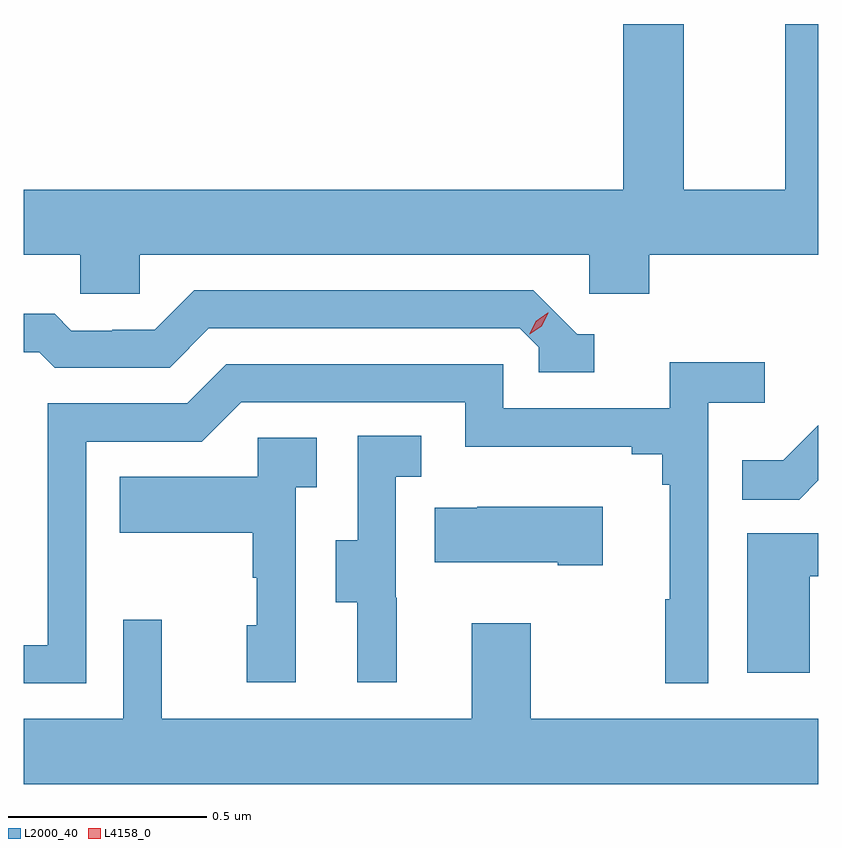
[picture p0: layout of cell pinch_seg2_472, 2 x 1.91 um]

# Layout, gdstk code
import gdstk
lib = gdstk.Library(unit=1e-6, precision=1e-09)
def P(c, l, *ps):  # polygons
    for p in ps: c.add(gdstk.Polygon(p, *l))
L2000_40 = (2000, 40)
L4158_0 = (4158, 0)

pinch_seg2_472 = lib.new_cell('pinch_seg2_472')
P(pinch_seg2_472, L2000_40, [(905.739,597.02),(906.87,597.02),(906.87,596.922),(907.022,596.922),(907.022,597.02),(907.447,597.02),(907.447,597.601),(907.364,597.601),(907.364,597.184),(907.108,597.184),(907.108,597.601),(906.956,597.601),(906.956,597.184),(905.447,597.184),(905.447,597.02),(905.589,597.02),(905.589,596.922),(905.739,596.922)],
  [(906.883,596.82),(906.84,596.82),(906.729,596.931),(905.876,596.931),(905.777,596.832),(905.67,596.832),(905.67,596.829),(905.567,596.829),(905.525,596.872),(905.447,596.872),(905.447,596.775),(905.486,596.775),(905.525,596.736),(905.814,596.736),(905.913,596.835),(906.696,596.835),(906.744,596.787),(906.744,596.724),(906.883,596.724)],
  [(905.604,596.55),(905.895,596.55),(905.994,596.649),(906.558,596.649),(906.558,596.537),(906.977,596.537),(906.977,596.518),(907.054,596.518),(907.054,596.441),(907.073,596.441),(907.073,596.153),(907.062,596.153),(907.062,595.941),(907.17,595.941),(907.17,596.648),(907.312,596.648),(907.312,596.75),(907.073,596.75),(907.073,596.634),(906.654,596.634),(906.654,596.745),(905.957,596.745),(905.858,596.646),(905.508,596.646),(905.508,596.037),(905.447,596.037),(905.447,595.941),(905.604,595.941)],
  [(907.447,596.452),(907.447,596.591),(907.359,596.503),(907.255,596.503),(907.255,596.404),(907.399,596.404)],
  [(906.386,596.157),(906.384,596.157),(906.384,596.461),(906.448,596.461),(906.448,596.564),(906.288,596.564),(906.288,596.301),(906.233,596.301),(906.233,596.146),(906.287,596.146),(906.287,595.944),(906.386,595.944)],
  [(906.132,596.435),(906.184,596.435),(906.184,596.559),(906.036,596.559),(906.036,596.461),(905.689,596.461),(905.689,596.321),(906.024,596.321),(906.024,596.207),(906.034,596.207),(906.034,596.088),(906.008,596.088),(906.008,595.944),(906.132,595.944)],
  [(906.904,596.386),(906.589,596.386),(906.589,596.383),(906.481,596.383),(906.481,596.246),(906.791,596.246),(906.791,596.239),(906.904,596.239)],
  [(907.426,596.211),(907.447,596.211),(907.447,596.319),(907.268,596.319),(907.268,595.968),(907.426,595.968)],
  [(907.447,595.852),(906.723,595.852),(906.723,596.092),(906.575,596.092),(906.575,595.852),(905.795,595.852),(905.795,596.101),(905.697,596.101),(905.697,595.852),(905.447,595.852),(905.447,595.688),(907.447,595.688)])
P(pinch_seg2_472, L4158_0, [(906.721,596.82),(906.721,596.821),(906.736,596.853),(906.766,596.874),(906.767,596.874),(906.767,596.873),(906.751,596.84),(906.721,596.82)])

lib.write_gds('pinch_seg2_472.gds')
